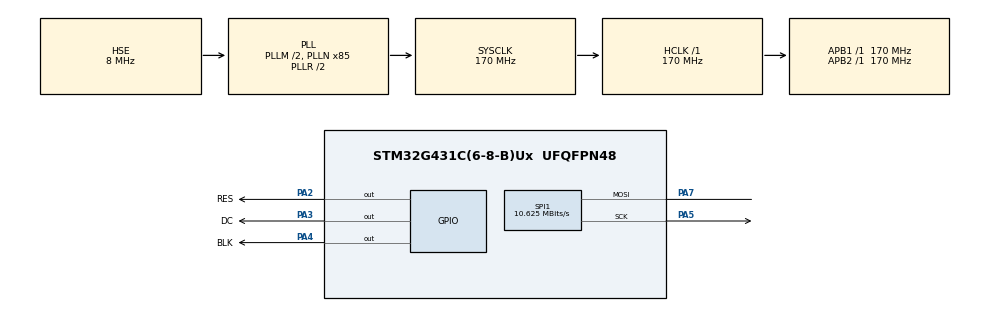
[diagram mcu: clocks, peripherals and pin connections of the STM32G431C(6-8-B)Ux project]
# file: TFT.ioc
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Mcu.Family=STM32G4
Mcu.Name=STM32G431C(6-8-B)Ux
Mcu.Package=UFQFPN48
NVIC.PriorityGroup=NVIC_PRIORITYGROUP_4
PA13.Mode=Serial_Wire
PA13.Signal=SYS_JTMS-SWDIO
PA14.Mode=Serial_Wire
PA14.Signal=SYS_JTCK-SWCLK
PA2.GPIO_Label=RES
PA2.GPIO_PuPd=GPIO_PULLUP
PA2.GPIO_Speed=GPIO_SPEED_FREQ_VERY_HIGH
PA2.PinState=GPIO_PIN_SET
PA2.Signal=GPIO_Output
PA3.GPIO_Label=DC
PA3.GPIO_PuPd=GPIO_PULLUP
PA3.GPIO_Speed=GPIO_SPEED_FREQ_VERY_HIGH
PA3.PinState=GPIO_PIN_SET
PA3.Signal=GPIO_Output
PA4.GPIO_Label=BLK
PA4.GPIO_PuPd=GPIO_PULLUP
PA4.GPIO_Speed=GPIO_SPEED_FREQ_VERY_HIGH
PA4.PinState=GPIO_PIN_SET
PA4.Signal=GPIO_Output
PA5.Mode=Simplex_Bidirectional_Master
PA5.Signal=SPI1_SCK
PA7.Mode=Simplex_Bidirectional_Master
PA7.Signal=SPI1_MOSI
PF0-OSC_IN.Mode=HSE-External-Oscillator
PF0-OSC_IN.Signal=RCC_OSC_IN
PF1-OSC_OUT.Mode=HSE-External-Oscillator
PF1-OSC_OUT.Signal=RCC_OSC_OUT
ProjectManager.HeapSize=0x200
ProjectManager.StackSize=0x400
ProjectManager.TargetToolchain=MDK-ARM V5.32
RCC.ADC12Freq_Value=170000000
RCC.AHBFreq_Value=170000000
RCC.APB1Freq_Value=170000000
RCC.APB1TimFreq_Value=170000000
RCC.APB2Freq_Value=170000000
RCC.APB2TimFreq_Value=170000000
RCC.CortexFreq_Value=170000000
RCC.EXTERNAL_CLOCK_VALUE=12288000
RCC.HCLKFreq_Value=170000000
RCC.HSE_VALUE=8000000
RCC.HSI48_VALUE=48000000
RCC.HSI_VALUE=16000000
RCC.LSE_VALUE=32768
RCC.PLLM=RCC_PLLM_DIV2
RCC.PLLN=85
RCC.PLLSourceVirtual=RCC_PLLSOURCE_HSE
RCC.SYSCLKFreq_VALUE=170000000
RCC.SYSCLKSource=RCC_SYSCLKSOURCE_PLLCLK
RCC.USBFreq_Value=170000000
RCC.VCOOutputFreq_Value=340000000
SPI1.BaudRatePrescaler=SPI_BAUDRATEPRESCALER_16
SPI1.CalculateBaudRate=10.625 MBits/s
SPI1.DataSize=SPI_DATASIZE_8BIT
SPI1.Direction=SPI_DIRECTION_1LINE
SPI1.Mode=SPI_MODE_MASTER
SPI1.VirtualType=VM_MASTER
VP_SYS_VS_DBSignals.Mode=DisableDeadBatterySignals
board=custom

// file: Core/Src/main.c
/* USER CODE BEGIN Header */
/**
  ******************************************************************************
  * @file           : main.c
  * @brief          : Main program body
  ******************************************************************************
  * @attention
  *
  * Copyright (c) 2025 STMicroelectronics.
  * All rights reserved.
  *
  * This software is licensed under terms that can be found in the LICENSE file
  * in the root directory of this software component.
  * If no LICENSE file comes with this software, it is provided AS-IS.
  *
  ******************************************************************************
  */
/* USER CODE END Header */
#include "main.h"
#include "spi.h"
#include "gpio.h"

void SystemClock_Config(void);

/* USER CODE BEGIN 0 */
#include "../BSP/LCD/lcd.h"
#include "../BSP/LCD/pic.h"
/* USER CODE END 0 */

int main(void)
{

  /* MCU Configuration--------------------------------------------------------*/

  /* Reset of all peripherals, Initializes the Flash interface and the Systick. */
  HAL_Init();

  /* Configure the system clock */
  SystemClock_Config();

  /* Initialize all configured peripherals */
  MX_GPIO_Init();
  MX_SPI1_Init();
  /* USER CODE BEGIN 2 */
	LCD_Init();//LCD��ʼ��
	LCD_Fill(0,0,LCD_W,LCD_H,WHITE);
	uint8_t i,j;
	double  t=0;

//	LCD_Init();
//	LCD_Fill(0,0,LCD_W,LCD_H,BLACK);
//	LCD_ShowString(10,10,"ST7789 OK",RED,BLACK,16,0);
//	HAL_Delay(1000);

  /* USER CODE END 2 */

  /* Infinite loop */
  while (1)
  {

    /* USER CODE BEGIN 3 */
    LCD_ShowChinese(0,0,"zjydz",RED,WHITE,32,0);
	LCD_ShowString(0,40,"LCD_W:",RED,WHITE,16,0);
	LCD_ShowIntNum(48,40,LCD_W,3,RED,WHITE,16);
	LCD_ShowString(80,40,"LCD_H:",RED,WHITE,16,0);
	LCD_ShowIntNum(128,40,LCD_H,3,RED,WHITE,16);
	LCD_ShowString(80,40,"LCD_H:",RED,WHITE,16,0);
	LCD_ShowString(0,70,"Increaseing Nun:",RED,WHITE,16,0);
	LCD_ShowFloatNum1(128,70,t,4,RED,WHITE,16);
	t+=0.11;
	for(j=0;j<3;j++)
	{
		for(i=0;i<6;i++)
		{
			LCD_ShowPicture(40*i,120+j*40,40,40,gImage_1);
		}
	}
  }
  /* USER CODE END 3 */
}

void SystemClock_Config(void)
{
  RCC_OscInitTypeDef RCC_OscInitStruct = {0};
  RCC_ClkInitTypeDef RCC_ClkInitStruct = {0};

  /** Configure the main internal regulator output voltage
  */
  HAL_PWREx_ControlVoltageScaling(PWR_REGULATOR_VOLTAGE_SCALE1_BOOST);

  /** Initializes the RCC Oscillators according to the specified parameters
  * in the RCC_OscInitTypeDef structure.
  */
  RCC_OscInitStruct.OscillatorType = RCC_OSCILLATORTYPE_HSE;
  RCC_OscInitStruct.HSEState = RCC_HSE_ON;
  RCC_OscInitStruct.PLL.PLLState = RCC_PLL_ON;
  RCC_OscInitStruct.PLL.PLLSource = RCC_PLLSOURCE_HSE;
  RCC_OscInitStruct.PLL.PLLM = RCC_PLLM_DIV2;
  RCC_OscInitStruct.PLL.PLLN = 85;
  RCC_OscInitStruct.PLL.PLLP = RCC_PLLP_DIV2;
  RCC_OscInitStruct.PLL.PLLQ = RCC_PLLQ_DIV2;
  RCC_OscInitStruct.PLL.PLLR = RCC_PLLR_DIV2;
  if (HAL_RCC_OscConfig(&RCC_OscInitStruct) != HAL_OK)
  {
    Error_Handler();
  }

  /** Initializes the CPU, AHB and APB buses clocks
  */
  RCC_ClkInitStruct.ClockType = RCC_CLOCKTYPE_HCLK|RCC_CLOCKTYPE_SYSCLK
                              |RCC_CLOCKTYPE_PCLK1|RCC_CLOCKTYPE_PCLK2;
  RCC_ClkInitStruct.SYSCLKSource = RCC_SYSCLKSOURCE_PLLCLK;
  RCC_ClkInitStruct.AHBCLKDivider = RCC_SYSCLK_DIV1;
  RCC_ClkInitStruct.APB1CLKDivider = RCC_HCLK_DIV1;
  RCC_ClkInitStruct.APB2CLKDivider = RCC_HCLK_DIV1;

  if (HAL_RCC_ClockConfig(&RCC_ClkInitStruct, FLASH_LATENCY_4) != HAL_OK)
  {
    Error_Handler();
  }
}

void Error_Handler(void)
{
  __disable_irq();
  while (1)
  {
  }
}
